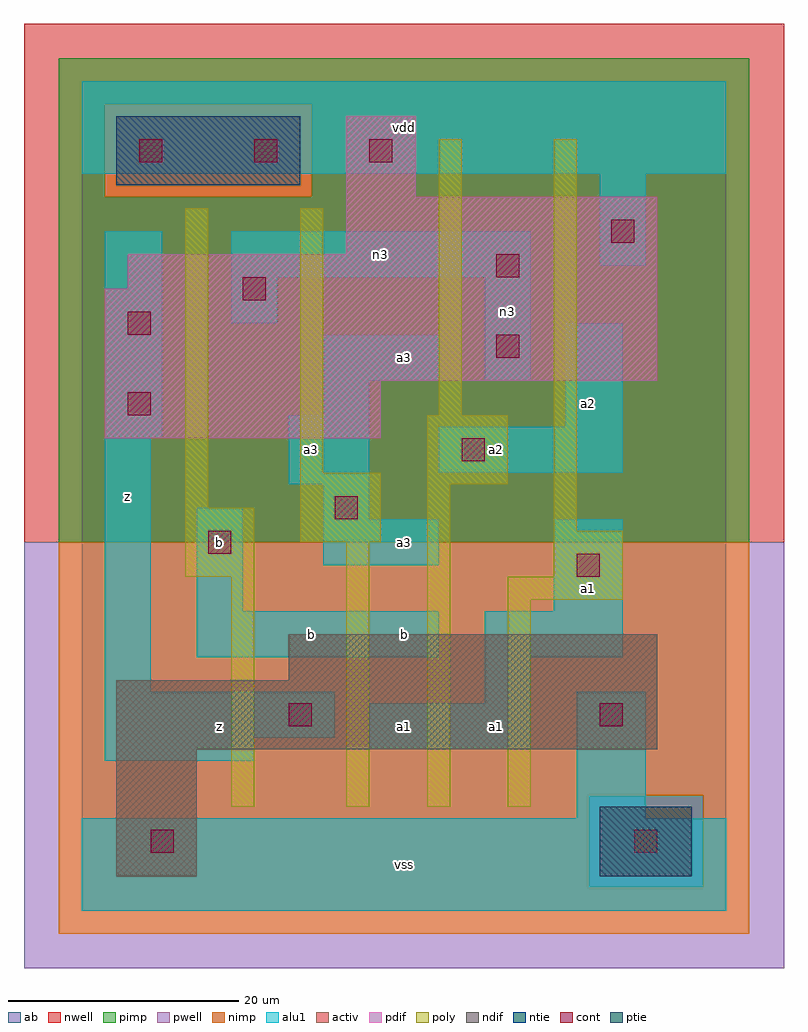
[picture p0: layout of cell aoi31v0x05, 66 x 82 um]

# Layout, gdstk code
import gdstk
lib = gdstk.Library(unit=1e-6, precision=1e-09)
def R(c, l, rs):  # rectangles x0, y0, x1, y1
    for r in rs: c.add(gdstk.rectangle(r[:2], r[2:], *l))
def A(c, l, x, y, w, h, nx, ny, dx, dy):  # array of equal rectangles
    R(c, l, [(x+i*dx, y+j*dy, x+i*dx+w, y+j*dy+h) for i in range(nx) for j in range(ny)])
ndif = (3, 0)
pdif = (4, 0)
ntie = (5, 0)
ptie = (6, 0)
cont = (25, 0)
pwell = (41, 0)
nwell = (42, 0)
activ = (43, 0)
pimp = (44, 0)
nimp = (45, 0)
poly = (46, 0)
alu1 = (49, 0)
ab = (63, 0)

aoi31v0x05 = lib.new_cell('aoi31v0x05')
R(aoi31v0x05, ndif, [(3,3,10,14), (3,14,50,20), (18,20,50,24)])
R(aoi31v0x05, pdif, [(2,41,26,46), (2,46,50,54), (4,54,50,57), (23,57,50,62), (23,62,29,69)])
R(aoi31v0x05, ntie, [(3,63,19,69)])
R(aoi31v0x05, ptie, [(45,3,53,9)])
A(aoi31v0x05, cont, 5, 65, 2, 2, 3, 1, 10, 0)
R(aoi31v0x05, cont, [(6,5,8,7), (48,5,50,7), (18,16,20,18), (45,16,47,18), (43,29,45,31), (11,31,13,33), (22,34,24,36), (33,39,35,41), (4,43,6,45), (36,48,38,50), (4,50,6,52), (14,53,16,55), (36,55,38,57), (46,58,48,60)])
R(aoi31v0x05, pwell, [(-5,-5,61,32)])
R(aoi31v0x05, nwell, [(-5,32,61,77)])
R(aoi31v0x05, activ, [(3,3,10,14), (45,3,53,9), (3,14,50,20), (18,20,50,24), (2,41,26,46), (2,46,50,54), (4,54,50,57), (23,57,50,62), (23,62,29,69), (3,63,19,69)])
R(aoi31v0x05, pimp, [(44,2,54,10), (-2,32,58,62), (-2,62,2,70), (20,62,58,70), (-2,70,58,74)])
R(aoi31v0x05, nimp, [(-2,-2,58,2), (-2,2,44,10), (54,2,58,10), (-2,10,58,32), (2,62,20,70)])
R(aoi31v0x05, poly, [(13,9,15,29), (23,9,25,32), (30,9,32,37), (37,9,39,27), (37,27,47,29), (9,29,15,35), (41,29,47,33), (19,32,26,38), (41,33,43,67), (9,35,11,61), (30,37,37,43), (19,38,21,61), (31,43,33,67)])
R(aoi31v0x05, alu1, [(0,0,56,8), (43,8,49,19), (2,13,15,15), (25,14,39,18), (2,15,22,19), (35,18,39,22), (2,19,6,41), (10,22,31,26), (35,22,47,26), (10,26,14,35), (41,26,47,34), (21,30,31,34), (21,34,25,37), (18,37,25,43), (31,38,47,42), (2,41,7,59), (42,42,47,51), (21,43,25,46), (21,46,31,50), (35,46,39,55), (13,51,17,55), (13,55,39,59), (45,56,49,64), (0,64,56,72)])
R(aoi31v0x05, ab, [(0,0,56,72)])
aoi31v0x05.add(gdstk.Label('n3', (37,52), layer=49, texttype=0))
aoi31v0x05.add(gdstk.Label('n3', (26,57), layer=49, texttype=0))
aoi31v0x05.add(gdstk.Label('z', (4,36), layer=49, texttype=0))
aoi31v0x05.add(gdstk.Label('z', (12,16), layer=49, texttype=0))
aoi31v0x05.add(gdstk.Label('b', (12,32), layer=49, texttype=0))
aoi31v0x05.add(gdstk.Label('b', (20,24), layer=49, texttype=0))
aoi31v0x05.add(gdstk.Label('a3', (20,40), layer=49, texttype=0))
aoi31v0x05.add(gdstk.Label('vss', (28,4), layer=49, texttype=0))
aoi31v0x05.add(gdstk.Label('a1', (36,16), layer=49, texttype=0))
aoi31v0x05.add(gdstk.Label('a1', (28,16), layer=49, texttype=0))
aoi31v0x05.add(gdstk.Label('b', (28,24), layer=49, texttype=0))
aoi31v0x05.add(gdstk.Label('a3', (28,32), layer=49, texttype=0))
aoi31v0x05.add(gdstk.Label('a2', (36,40), layer=49, texttype=0))
aoi31v0x05.add(gdstk.Label('a3', (28,48), layer=49, texttype=0))
aoi31v0x05.add(gdstk.Label('vdd', (28,68), layer=49, texttype=0))
aoi31v0x05.add(gdstk.Label('a1', (44,28), layer=49, texttype=0))
aoi31v0x05.add(gdstk.Label('a2', (44,44), layer=49, texttype=0))

lib.write_gds('aoi31v0x05.gds')
